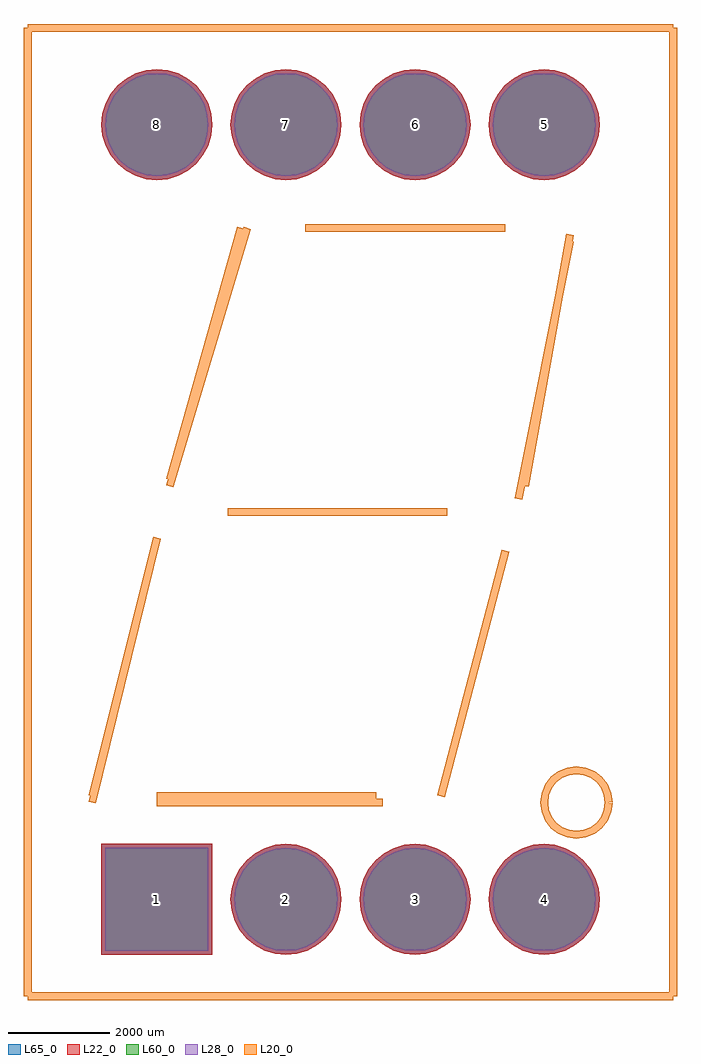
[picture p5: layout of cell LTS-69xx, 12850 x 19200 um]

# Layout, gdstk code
import gdstk
lib = gdstk.Library(unit=1e-6, precision=1e-09)
def R(c, l, rs):  # rectangles x0, y0, x1, y1
    for r in rs: c.add(gdstk.rectangle(r[:2], r[2:], *l))
def P(c, l, *ps):  # polygons
    for p in ps: c.add(gdstk.Polygon(p, *l))
L20_0 = (20, 0)
L22_0 = (22, 0)
L28_0 = (28, 0)
L60_0 = (60, 0)
L65_0 = (65, 0)

lts_69xx = lib.new_cell('LTS-69xx')
R(lts_69xx, L22_0, [(-4901,-8711,-2719,-6529)])
P(lts_69xx, L22_0, [(-2719,7620),(-2739.963,7832.844),(-2802.047,8037.508),(-2902.867,8226.127),(-3038.547,8391.453),(-3203.873,8527.133),(-3392.492,8627.953),(-3597.156,8690.037),(-3810,8711),(-4022.844,8690.037),(-4227.508,8627.953),(-4416.127,8527.133),(-4581.453,8391.453),(-4717.133,8226.127),(-4817.953,8037.508),(-4880.037,7832.844),(-4901,7620),(-4880.037,7407.156),(-4817.953,7202.492),(-4717.133,7013.873),(-4581.453,6848.547),(-4416.127,6712.867),(-4227.508,6612.047),(-4022.844,6549.963),(-3810,6529),(-3597.156,6549.963),(-3392.492,6612.047),(-3203.873,6712.867),(-3038.547,6848.547),(-2902.867,7013.873),(-2802.047,7202.492),(-2739.963,7407.156)],
  [(-179,7620),(-199.963,7832.844),(-262.047,8037.508),(-362.867,8226.127),(-498.547,8391.453),(-663.873,8527.133),(-852.492,8627.953),(-1057.156,8690.037),(-1270,8711),(-1482.844,8690.037),(-1687.508,8627.953),(-1876.127,8527.133),(-2041.453,8391.453),(-2177.133,8226.127),(-2277.953,8037.508),(-2340.037,7832.844),(-2361,7620),(-2340.037,7407.156),(-2277.953,7202.492),(-2177.133,7013.873),(-2041.453,6848.547),(-1876.127,6712.867),(-1687.508,6612.047),(-1482.844,6549.963),(-1270,6529),(-1057.156,6549.963),(-852.492,6612.047),(-663.873,6712.867),(-498.547,6848.547),(-362.867,7013.873),(-262.047,7202.492),(-199.963,7407.156)],
  [(2361,7620),(2340.037,7832.844),(2277.953,8037.508),(2177.133,8226.127),(2041.453,8391.453),(1876.127,8527.133),(1687.508,8627.953),(1482.844,8690.037),(1270,8711),(1057.156,8690.037),(852.492,8627.953),(663.873,8527.133),(498.547,8391.453),(362.867,8226.127),(262.047,8037.508),(199.963,7832.844),(179,7620),(199.963,7407.156),(262.047,7202.492),(362.867,7013.873),(498.547,6848.547),(663.873,6712.867),(852.492,6612.047),(1057.156,6549.963),(1270,6529),(1482.844,6549.963),(1687.508,6612.047),(1876.127,6712.867),(2041.453,6848.547),(2177.133,7013.873),(2277.953,7202.492),(2340.037,7407.156)],
  [(4901,7620),(4880.037,7832.844),(4817.953,8037.508),(4717.133,8226.127),(4581.453,8391.453),(4416.127,8527.133),(4227.508,8627.953),(4022.844,8690.037),(3810,8711),(3597.156,8690.037),(3392.492,8627.953),(3203.873,8527.133),(3038.547,8391.453),(2902.867,8226.127),(2802.047,8037.508),(2739.963,7832.844),(2719,7620),(2739.963,7407.156),(2802.047,7202.492),(2902.867,7013.873),(3038.547,6848.547),(3203.873,6712.867),(3392.492,6612.047),(3597.156,6549.963),(3810,6529),(4022.844,6549.963),(4227.508,6612.047),(4416.127,6712.867),(4581.453,6848.547),(4717.133,7013.873),(4817.953,7202.492),(4880.037,7407.156)],
  [(4901,-7620),(4880.037,-7407.156),(4817.953,-7202.492),(4717.133,-7013.873),(4581.453,-6848.547),(4416.127,-6712.867),(4227.508,-6612.047),(4022.844,-6549.963),(3810,-6529),(3597.156,-6549.963),(3392.492,-6612.047),(3203.873,-6712.867),(3038.547,-6848.547),(2902.867,-7013.873),(2802.047,-7202.492),(2739.963,-7407.156),(2719,-7620),(2739.963,-7832.844),(2802.047,-8037.508),(2902.867,-8226.127),(3038.547,-8391.453),(3203.873,-8527.133),(3392.492,-8627.953),(3597.156,-8690.037),(3810,-8711),(4022.844,-8690.037),(4227.508,-8627.953),(4416.127,-8527.133),(4581.453,-8391.453),(4717.133,-8226.127),(4817.953,-8037.508),(4880.037,-7832.844)],
  [(2361,-7620),(2340.037,-7407.156),(2277.953,-7202.492),(2177.133,-7013.873),(2041.453,-6848.547),(1876.127,-6712.867),(1687.508,-6612.047),(1482.844,-6549.963),(1270,-6529),(1057.156,-6549.963),(852.492,-6612.047),(663.873,-6712.867),(498.547,-6848.547),(362.867,-7013.873),(262.047,-7202.492),(199.963,-7407.156),(179,-7620),(199.963,-7832.844),(262.047,-8037.508),(362.867,-8226.127),(498.547,-8391.453),(663.873,-8527.133),(852.492,-8627.953),(1057.156,-8690.037),(1270,-8711),(1482.844,-8690.037),(1687.508,-8627.953),(1876.127,-8527.133),(2041.453,-8391.453),(2177.133,-8226.127),(2277.953,-8037.508),(2340.037,-7832.844)],
  [(-179,-7620),(-199.963,-7407.156),(-262.047,-7202.492),(-362.867,-7013.873),(-498.547,-6848.547),(-663.873,-6712.867),(-852.492,-6612.047),(-1057.156,-6549.963),(-1270,-6529),(-1482.844,-6549.963),(-1687.508,-6612.047),(-1876.127,-6712.867),(-2041.453,-6848.547),(-2177.133,-7013.873),(-2277.953,-7202.492),(-2340.037,-7407.156),(-2361,-7620),(-2340.037,-7832.844),(-2277.953,-8037.508),(-2177.133,-8226.127),(-2041.453,-8391.453),(-1876.127,-8527.133),(-1687.508,-8627.953),(-1482.844,-8690.037),(-1270,-8711),(-1057.156,-8690.037),(-852.492,-8627.953),(-663.873,-8527.133),(-498.547,-8391.453),(-362.867,-8226.127),(-262.047,-8037.508),(-199.963,-7832.844)])
R(lts_69xx, L28_0, [(-4826,-8636,-2794,-6604)])
P(lts_69xx, L28_0, [(-2794,7620),(-2813.522,7818.212),(-2871.338,8008.806),(-2965.227,8184.459),(-3091.58,8338.42),(-3245.541,8464.773),(-3421.194,8558.662),(-3611.788,8616.478),(-3810,8636),(-4008.212,8616.478),(-4198.806,8558.662),(-4374.459,8464.773),(-4528.42,8338.42),(-4654.773,8184.459),(-4748.662,8008.806),(-4806.478,7818.212),(-4826,7620),(-4806.478,7421.788),(-4748.662,7231.194),(-4654.773,7055.541),(-4528.42,6901.58),(-4374.459,6775.227),(-4198.806,6681.338),(-4008.212,6623.522),(-3810,6604),(-3611.788,6623.522),(-3421.194,6681.338),(-3245.541,6775.227),(-3091.58,6901.58),(-2965.227,7055.541),(-2871.338,7231.194),(-2813.522,7421.788)],
  [(-254,7620),(-273.522,7818.212),(-331.338,8008.806),(-425.227,8184.459),(-551.58,8338.42),(-705.541,8464.773),(-881.194,8558.662),(-1071.788,8616.478),(-1270,8636),(-1468.212,8616.478),(-1658.806,8558.662),(-1834.459,8464.773),(-1988.42,8338.42),(-2114.773,8184.459),(-2208.662,8008.806),(-2266.478,7818.212),(-2286,7620),(-2266.478,7421.788),(-2208.662,7231.194),(-2114.773,7055.541),(-1988.42,6901.58),(-1834.459,6775.227),(-1658.806,6681.338),(-1468.212,6623.522),(-1270,6604),(-1071.788,6623.522),(-881.194,6681.338),(-705.541,6775.227),(-551.58,6901.58),(-425.227,7055.541),(-331.338,7231.194),(-273.522,7421.788)],
  [(2286,7620),(2266.478,7818.212),(2208.662,8008.806),(2114.773,8184.459),(1988.42,8338.42),(1834.459,8464.773),(1658.806,8558.662),(1468.212,8616.478),(1270,8636),(1071.788,8616.478),(881.194,8558.662),(705.541,8464.773),(551.58,8338.42),(425.227,8184.459),(331.338,8008.806),(273.522,7818.212),(254,7620),(273.522,7421.788),(331.338,7231.194),(425.227,7055.541),(551.58,6901.58),(705.541,6775.227),(881.194,6681.338),(1071.788,6623.522),(1270,6604),(1468.212,6623.522),(1658.806,6681.338),(1834.459,6775.227),(1988.42,6901.58),(2114.773,7055.541),(2208.662,7231.194),(2266.478,7421.788)],
  [(4826,7620),(4806.478,7818.212),(4748.662,8008.806),(4654.773,8184.459),(4528.42,8338.42),(4374.459,8464.773),(4198.806,8558.662),(4008.212,8616.478),(3810,8636),(3611.788,8616.478),(3421.194,8558.662),(3245.541,8464.773),(3091.58,8338.42),(2965.227,8184.459),(2871.338,8008.806),(2813.522,7818.212),(2794,7620),(2813.522,7421.788),(2871.338,7231.194),(2965.227,7055.541),(3091.58,6901.58),(3245.541,6775.227),(3421.194,6681.338),(3611.788,6623.522),(3810,6604),(4008.212,6623.522),(4198.806,6681.338),(4374.459,6775.227),(4528.42,6901.58),(4654.773,7055.541),(4748.662,7231.194),(4806.478,7421.788)],
  [(4826,-7620),(4806.478,-7421.788),(4748.662,-7231.194),(4654.773,-7055.541),(4528.42,-6901.58),(4374.459,-6775.227),(4198.806,-6681.338),(4008.212,-6623.522),(3810,-6604),(3611.788,-6623.522),(3421.194,-6681.338),(3245.541,-6775.227),(3091.58,-6901.58),(2965.227,-7055.541),(2871.338,-7231.194),(2813.522,-7421.788),(2794,-7620),(2813.522,-7818.212),(2871.338,-8008.806),(2965.227,-8184.459),(3091.58,-8338.42),(3245.541,-8464.773),(3421.194,-8558.662),(3611.788,-8616.478),(3810,-8636),(4008.212,-8616.478),(4198.806,-8558.662),(4374.459,-8464.773),(4528.42,-8338.42),(4654.773,-8184.459),(4748.662,-8008.806),(4806.478,-7818.212)],
  [(2286,-7620),(2266.478,-7421.788),(2208.662,-7231.194),(2114.773,-7055.541),(1988.42,-6901.58),(1834.459,-6775.227),(1658.806,-6681.338),(1468.212,-6623.522),(1270,-6604),(1071.788,-6623.522),(881.194,-6681.338),(705.541,-6775.227),(551.58,-6901.58),(425.227,-7055.541),(331.338,-7231.194),(273.522,-7421.788),(254,-7620),(273.522,-7818.212),(331.338,-8008.806),(425.227,-8184.459),(551.58,-8338.42),(705.541,-8464.773),(881.194,-8558.662),(1071.788,-8616.478),(1270,-8636),(1468.212,-8616.478),(1658.806,-8558.662),(1834.459,-8464.773),(1988.42,-8338.42),(2114.773,-8184.459),(2208.662,-8008.806),(2266.478,-7818.212)],
  [(-254,-7620),(-273.522,-7421.788),(-331.338,-7231.194),(-425.227,-7055.541),(-551.58,-6901.58),(-705.541,-6775.227),(-881.194,-6681.338),(-1071.788,-6623.522),(-1270,-6604),(-1468.212,-6623.522),(-1658.806,-6681.338),(-1834.459,-6775.227),(-1988.42,-6901.58),(-2114.773,-7055.541),(-2208.662,-7231.194),(-2266.478,-7421.788),(-2286,-7620),(-2266.478,-7818.212),(-2208.662,-8008.806),(-2114.773,-8184.459),(-1988.42,-8338.42),(-1834.459,-8464.773),(-1658.806,-8558.662),(-1468.212,-8616.478),(-1270,-8636),(-1071.788,-8616.478),(-881.194,-8558.662),(-705.541,-8464.773),(-551.58,-8338.42),(-425.227,-8184.459),(-331.338,-8008.806),(-273.522,-7818.212)])
R(lts_69xx, L60_0, [(-4826,-8636,-2794,-6604)])
P(lts_69xx, L60_0, [(-2794,7620),(-2813.522,7818.212),(-2871.338,8008.806),(-2965.227,8184.459),(-3091.58,8338.42),(-3245.541,8464.773),(-3421.194,8558.662),(-3611.788,8616.478),(-3810,8636),(-4008.212,8616.478),(-4198.806,8558.662),(-4374.459,8464.773),(-4528.42,8338.42),(-4654.773,8184.459),(-4748.662,8008.806),(-4806.478,7818.212),(-4826,7620),(-4806.478,7421.788),(-4748.662,7231.194),(-4654.773,7055.541),(-4528.42,6901.58),(-4374.459,6775.227),(-4198.806,6681.338),(-4008.212,6623.522),(-3810,6604),(-3611.788,6623.522),(-3421.194,6681.338),(-3245.541,6775.227),(-3091.58,6901.58),(-2965.227,7055.541),(-2871.338,7231.194),(-2813.522,7421.788)],
  [(-254,7620),(-273.522,7818.212),(-331.338,8008.806),(-425.227,8184.459),(-551.58,8338.42),(-705.541,8464.773),(-881.194,8558.662),(-1071.788,8616.478),(-1270,8636),(-1468.212,8616.478),(-1658.806,8558.662),(-1834.459,8464.773),(-1988.42,8338.42),(-2114.773,8184.459),(-2208.662,8008.806),(-2266.478,7818.212),(-2286,7620),(-2266.478,7421.788),(-2208.662,7231.194),(-2114.773,7055.541),(-1988.42,6901.58),(-1834.459,6775.227),(-1658.806,6681.338),(-1468.212,6623.522),(-1270,6604),(-1071.788,6623.522),(-881.194,6681.338),(-705.541,6775.227),(-551.58,6901.58),(-425.227,7055.541),(-331.338,7231.194),(-273.522,7421.788)],
  [(2286,7620),(2266.478,7818.212),(2208.662,8008.806),(2114.773,8184.459),(1988.42,8338.42),(1834.459,8464.773),(1658.806,8558.662),(1468.212,8616.478),(1270,8636),(1071.788,8616.478),(881.194,8558.662),(705.541,8464.773),(551.58,8338.42),(425.227,8184.459),(331.338,8008.806),(273.522,7818.212),(254,7620),(273.522,7421.788),(331.338,7231.194),(425.227,7055.541),(551.58,6901.58),(705.541,6775.227),(881.194,6681.338),(1071.788,6623.522),(1270,6604),(1468.212,6623.522),(1658.806,6681.338),(1834.459,6775.227),(1988.42,6901.58),(2114.773,7055.541),(2208.662,7231.194),(2266.478,7421.788)],
  [(4826,7620),(4806.478,7818.212),(4748.662,8008.806),(4654.773,8184.459),(4528.42,8338.42),(4374.459,8464.773),(4198.806,8558.662),(4008.212,8616.478),(3810,8636),(3611.788,8616.478),(3421.194,8558.662),(3245.541,8464.773),(3091.58,8338.42),(2965.227,8184.459),(2871.338,8008.806),(2813.522,7818.212),(2794,7620),(2813.522,7421.788),(2871.338,7231.194),(2965.227,7055.541),(3091.58,6901.58),(3245.541,6775.227),(3421.194,6681.338),(3611.788,6623.522),(3810,6604),(4008.212,6623.522),(4198.806,6681.338),(4374.459,6775.227),(4528.42,6901.58),(4654.773,7055.541),(4748.662,7231.194),(4806.478,7421.788)],
  [(4826,-7620),(4806.478,-7421.788),(4748.662,-7231.194),(4654.773,-7055.541),(4528.42,-6901.58),(4374.459,-6775.227),(4198.806,-6681.338),(4008.212,-6623.522),(3810,-6604),(3611.788,-6623.522),(3421.194,-6681.338),(3245.541,-6775.227),(3091.58,-6901.58),(2965.227,-7055.541),(2871.338,-7231.194),(2813.522,-7421.788),(2794,-7620),(2813.522,-7818.212),(2871.338,-8008.806),(2965.227,-8184.459),(3091.58,-8338.42),(3245.541,-8464.773),(3421.194,-8558.662),(3611.788,-8616.478),(3810,-8636),(4008.212,-8616.478),(4198.806,-8558.662),(4374.459,-8464.773),(4528.42,-8338.42),(4654.773,-8184.459),(4748.662,-8008.806),(4806.478,-7818.212)],
  [(2286,-7620),(2266.478,-7421.788),(2208.662,-7231.194),(2114.773,-7055.541),(1988.42,-6901.58),(1834.459,-6775.227),(1658.806,-6681.338),(1468.212,-6623.522),(1270,-6604),(1071.788,-6623.522),(881.194,-6681.338),(705.541,-6775.227),(551.58,-6901.58),(425.227,-7055.541),(331.338,-7231.194),(273.522,-7421.788),(254,-7620),(273.522,-7818.212),(331.338,-8008.806),(425.227,-8184.459),(551.58,-8338.42),(705.541,-8464.773),(881.194,-8558.662),(1071.788,-8616.478),(1270,-8636),(1468.212,-8616.478),(1658.806,-8558.662),(1834.459,-8464.773),(1988.42,-8338.42),(2114.773,-8184.459),(2208.662,-8008.806),(2266.478,-7818.212)],
  [(-254,-7620),(-273.522,-7421.788),(-331.338,-7231.194),(-425.227,-7055.541),(-551.58,-6901.58),(-705.541,-6775.227),(-881.194,-6681.338),(-1071.788,-6623.522),(-1270,-6604),(-1468.212,-6623.522),(-1658.806,-6681.338),(-1834.459,-6775.227),(-1988.42,-6901.58),(-2114.773,-7055.541),(-2208.662,-7231.194),(-2266.478,-7421.788),(-2286,-7620),(-2266.478,-7818.212),(-2208.662,-8008.806),(-2114.773,-8184.459),(-1988.42,-8338.42),(-1834.459,-8464.773),(-1658.806,-8558.662),(-1468.212,-8616.478),(-1270,-8636),(-1071.788,-8616.478),(-881.194,-8558.662),(-705.541,-8464.773),(-551.58,-8338.42),(-425.227,-8184.459),(-331.338,-8008.806),(-273.522,-7818.212)])
R(lts_69xx, L65_0, [(-4901,-8711,-2719,-6529)])
P(lts_69xx, L65_0, [(-2719,7620),(-2739.963,7832.844),(-2802.047,8037.508),(-2902.867,8226.127),(-3038.547,8391.453),(-3203.873,8527.133),(-3392.492,8627.953),(-3597.156,8690.037),(-3810,8711),(-4022.844,8690.037),(-4227.508,8627.953),(-4416.127,8527.133),(-4581.453,8391.453),(-4717.133,8226.127),(-4817.953,8037.508),(-4880.037,7832.844),(-4901,7620),(-4880.037,7407.156),(-4817.953,7202.492),(-4717.133,7013.873),(-4581.453,6848.547),(-4416.127,6712.867),(-4227.508,6612.047),(-4022.844,6549.963),(-3810,6529),(-3597.156,6549.963),(-3392.492,6612.047),(-3203.873,6712.867),(-3038.547,6848.547),(-2902.867,7013.873),(-2802.047,7202.492),(-2739.963,7407.156)],
  [(-179,7620),(-199.963,7832.844),(-262.047,8037.508),(-362.867,8226.127),(-498.547,8391.453),(-663.873,8527.133),(-852.492,8627.953),(-1057.156,8690.037),(-1270,8711),(-1482.844,8690.037),(-1687.508,8627.953),(-1876.127,8527.133),(-2041.453,8391.453),(-2177.133,8226.127),(-2277.953,8037.508),(-2340.037,7832.844),(-2361,7620),(-2340.037,7407.156),(-2277.953,7202.492),(-2177.133,7013.873),(-2041.453,6848.547),(-1876.127,6712.867),(-1687.508,6612.047),(-1482.844,6549.963),(-1270,6529),(-1057.156,6549.963),(-852.492,6612.047),(-663.873,6712.867),(-498.547,6848.547),(-362.867,7013.873),(-262.047,7202.492),(-199.963,7407.156)],
  [(2361,7620),(2340.037,7832.844),(2277.953,8037.508),(2177.133,8226.127),(2041.453,8391.453),(1876.127,8527.133),(1687.508,8627.953),(1482.844,8690.037),(1270,8711),(1057.156,8690.037),(852.492,8627.953),(663.873,8527.133),(498.547,8391.453),(362.867,8226.127),(262.047,8037.508),(199.963,7832.844),(179,7620),(199.963,7407.156),(262.047,7202.492),(362.867,7013.873),(498.547,6848.547),(663.873,6712.867),(852.492,6612.047),(1057.156,6549.963),(1270,6529),(1482.844,6549.963),(1687.508,6612.047),(1876.127,6712.867),(2041.453,6848.547),(2177.133,7013.873),(2277.953,7202.492),(2340.037,7407.156)],
  [(4901,7620),(4880.037,7832.844),(4817.953,8037.508),(4717.133,8226.127),(4581.453,8391.453),(4416.127,8527.133),(4227.508,8627.953),(4022.844,8690.037),(3810,8711),(3597.156,8690.037),(3392.492,8627.953),(3203.873,8527.133),(3038.547,8391.453),(2902.867,8226.127),(2802.047,8037.508),(2739.963,7832.844),(2719,7620),(2739.963,7407.156),(2802.047,7202.492),(2902.867,7013.873),(3038.547,6848.547),(3203.873,6712.867),(3392.492,6612.047),(3597.156,6549.963),(3810,6529),(4022.844,6549.963),(4227.508,6612.047),(4416.127,6712.867),(4581.453,6848.547),(4717.133,7013.873),(4817.953,7202.492),(4880.037,7407.156)],
  [(4901,-7620),(4880.037,-7407.156),(4817.953,-7202.492),(4717.133,-7013.873),(4581.453,-6848.547),(4416.127,-6712.867),(4227.508,-6612.047),(4022.844,-6549.963),(3810,-6529),(3597.156,-6549.963),(3392.492,-6612.047),(3203.873,-6712.867),(3038.547,-6848.547),(2902.867,-7013.873),(2802.047,-7202.492),(2739.963,-7407.156),(2719,-7620),(2739.963,-7832.844),(2802.047,-8037.508),(2902.867,-8226.127),(3038.547,-8391.453),(3203.873,-8527.133),(3392.492,-8627.953),(3597.156,-8690.037),(3810,-8711),(4022.844,-8690.037),(4227.508,-8627.953),(4416.127,-8527.133),(4581.453,-8391.453),(4717.133,-8226.127),(4817.953,-8037.508),(4880.037,-7832.844)],
  [(2361,-7620),(2340.037,-7407.156),(2277.953,-7202.492),(2177.133,-7013.873),(2041.453,-6848.547),(1876.127,-6712.867),(1687.508,-6612.047),(1482.844,-6549.963),(1270,-6529),(1057.156,-6549.963),(852.492,-6612.047),(663.873,-6712.867),(498.547,-6848.547),(362.867,-7013.873),(262.047,-7202.492),(199.963,-7407.156),(179,-7620),(199.963,-7832.844),(262.047,-8037.508),(362.867,-8226.127),(498.547,-8391.453),(663.873,-8527.133),(852.492,-8627.953),(1057.156,-8690.037),(1270,-8711),(1482.844,-8690.037),(1687.508,-8627.953),(1876.127,-8527.133),(2041.453,-8391.453),(2177.133,-8226.127),(2277.953,-8037.508),(2340.037,-7832.844)],
  [(-179,-7620),(-199.963,-7407.156),(-262.047,-7202.492),(-362.867,-7013.873),(-498.547,-6848.547),(-663.873,-6712.867),(-852.492,-6612.047),(-1057.156,-6549.963),(-1270,-6529),(-1482.844,-6549.963),(-1687.508,-6612.047),(-1876.127,-6712.867),(-2041.453,-6848.547),(-2177.133,-7013.873),(-2277.953,-7202.492),(-2340.037,-7407.156),(-2361,-7620),(-2340.037,-7832.844),(-2277.953,-8037.508),(-2177.133,-8226.127),(-2041.453,-8391.453),(-1876.127,-8527.133),(-1687.508,-8627.953),(-1482.844,-8690.037),(-1270,-8711),(-1057.156,-8690.037),(-852.492,-8627.953),(-663.873,-8527.133),(-498.547,-8391.453),(-362.867,-8226.127),(-262.047,-8037.508),(-199.963,-7832.844)])
lts_69xx.add(gdstk.FlexPath([(-3810,-508),(-5080,-5715)], 149.998, ends="flush", simple_path=True, layer=20, datatype=0))  # L20_0
lts_69xx.add(gdstk.FlexPath([(-3556,635),(-2159,5588)], 149.998, ends="flush", simple_path=True, layer=20, datatype=0))  # L20_0
lts_69xx.add(gdstk.FlexPath([(-889,5588),(3048,5588)], 149.998, ends="flush", simple_path=True, layer=20, datatype=0))  # L20_0
lts_69xx.add(gdstk.FlexPath([(3429,508),(4318,5461)], 149.998, ends="flush", simple_path=True, layer=20, datatype=0))  # L20_0
lts_69xx.add(gdstk.FlexPath([(-2413,0),(1905,0)], 149.998, ends="flush", simple_path=True, layer=20, datatype=0))  # L20_0
lts_69xx.add(gdstk.FlexPath([(5080,9525),(-5080,9525)], 149.998, ends="flush", simple_path=True, layer=20, datatype=0))  # L20_0
lts_69xx.add(gdstk.FlexPath([(-5080,-9525),(5080,-9525)], 149.998, ends="flush", simple_path=True, layer=20, datatype=0))  # L20_0
lts_69xx.add(gdstk.FlexPath([(6350,9525),(5080,9525)], 149.998, ends="flush", simple_path=True, layer=20, datatype=0))  # L20_0
lts_69xx.add(gdstk.FlexPath([(6350,-9525),(6350,9525)], 149.998, ends="flush", simple_path=True, layer=20, datatype=0))  # L20_0
lts_69xx.add(gdstk.FlexPath([(5080,-9525),(6350,-9525)], 149.998, ends="flush", simple_path=True, layer=20, datatype=0))  # L20_0
lts_69xx.add(gdstk.FlexPath([(-6350,-9525),(-5080,-9525)], 149.998, ends="flush", simple_path=True, layer=20, datatype=0))  # L20_0
lts_69xx.add(gdstk.FlexPath([(-6350,9525),(-6350,-9525)], 149.998, ends="flush", simple_path=True, layer=20, datatype=0))  # L20_0
lts_69xx.add(gdstk.FlexPath([(-5080,9525),(-6350,9525)], 149.998, ends="flush", simple_path=True, layer=20, datatype=0))  # L20_0
lts_69xx.add(gdstk.FlexPath([(-3810,-5715),(635,-5715)], 149.998, ends="flush", simple_path=True, layer=20, datatype=0))  # L20_0
lts_69xx.add(gdstk.FlexPath([(5080,-5715),(5058.363,-5550.65),(4994.926,-5397.5),(4894.013,-5265.987),(4762.5,-5165.074),(4609.35,-5101.637),(4445,-5080),(4280.65,-5101.637),(4127.5,-5165.074),(3995.987,-5265.987),(3895.074,-5397.5),(3831.637,-5550.65),(3810,-5715),(3831.637,-5879.35),(3895.074,-6032.5),(3995.987,-6164.013),(4127.5,-6264.926),(4280.65,-6328.363),(4445,-6350),(4609.35,-6328.363),(4762.5,-6264.926),(4894.013,-6164.013),(4994.926,-6032.5),(5058.363,-5879.35),(5080,-5715)], 149.998, ends="flush", simple_path=True, layer=20, datatype=0))  # L20_0
lts_69xx.add(gdstk.FlexPath([(4318,5334),(3302,254)], 149.998, ends="flush", simple_path=True, layer=20, datatype=0))  # L20_0
lts_69xx.add(gdstk.FlexPath([(-2286,0),(1778,0)], 149.998, ends="flush", simple_path=True, layer=20, datatype=0))  # L20_0
lts_69xx.add(gdstk.FlexPath([(-762,5588),(3048,5588)], 149.998, ends="flush", simple_path=True, layer=20, datatype=0))  # L20_0
lts_69xx.add(gdstk.FlexPath([(-2032,5588),(-3556,508)], 149.998, ends="flush", simple_path=True, layer=20, datatype=0))  # L20_0
lts_69xx.add(gdstk.FlexPath([(-3810,-508),(-5080,-5588)], 149.998, ends="flush", simple_path=True, layer=20, datatype=0))  # L20_0
lts_69xx.add(gdstk.FlexPath([(-3810,-5588),(508,-5588)], 149.998, ends="flush", simple_path=True, layer=20, datatype=0))  # L20_0
lts_69xx.add(gdstk.FlexPath([(3048,-762),(1778,-5588)], 149.998, ends="flush", simple_path=True, layer=20, datatype=0))  # L20_0
lts_69xx.add(gdstk.Label('8', (-3810,7620), layer=28, texttype=0))
lts_69xx.add(gdstk.Label('7', (-1270,7620), layer=28, texttype=0))
lts_69xx.add(gdstk.Label('6', (1270,7620), layer=28, texttype=0))
lts_69xx.add(gdstk.Label('5', (3810,7620), layer=28, texttype=0))
lts_69xx.add(gdstk.Label('4', (3810,-7620), layer=28, texttype=0))
lts_69xx.add(gdstk.Label('3', (1270,-7620), layer=28, texttype=0))
lts_69xx.add(gdstk.Label('2', (-1270,-7620), layer=28, texttype=0))
lts_69xx.add(gdstk.Label('1', (-3810,-7620), layer=28, texttype=0))
lts_69xx.add(gdstk.Label('type', (635,-10795), layer=9, texttype=0))
lts_69xx.add(gdstk.Label('devicename', (0,10795), layer=9, texttype=0))

lib.write_gds('LTS-69xx.gds')
